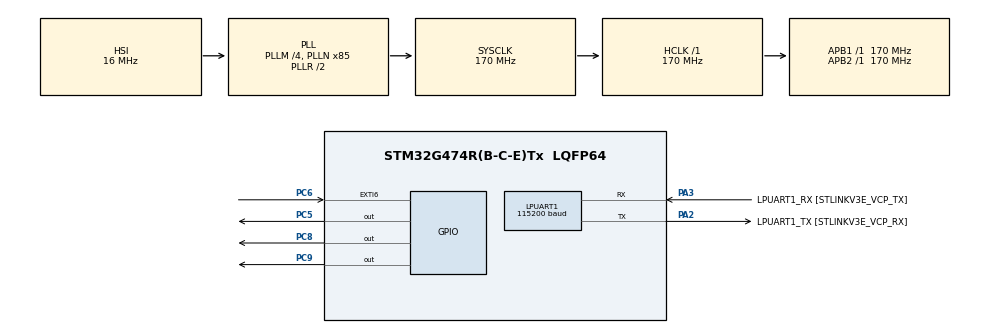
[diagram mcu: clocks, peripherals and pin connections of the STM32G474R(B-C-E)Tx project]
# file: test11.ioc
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LPUART1.BaudRate=115200
Mcu.Family=STM32G4
Mcu.Name=STM32G474R(B-C-E)Tx
Mcu.Package=LQFP64
NVIC.EXTI9_5_IRQn=true\:0\:0\:false\:false\:true\:true\:true\:true
NVIC.LPUART1_IRQn=true\:1\:0\:true\:false\:true\:true\:true\:true
NVIC.PriorityGroup=NVIC_PRIORITYGROUP_4
PA13.GPIO_Label=T_SWDIO
PA13.Signal=SYS_JTMS-SWDIO
PA14.GPIO_Label=T_SWCLK
PA14.Signal=SYS_JTCK-SWCLK
PA2.GPIO_Label=LPUART1_TX [STLINKV3E_VCP_RX]
PA2.Mode=Asynchronous
PA2.Signal=LPUART1_TX
PA3.GPIO_Label=LPUART1_RX [STLINKV3E_VCP_TX]
PA3.Mode=Asynchronous
PA3.Signal=LPUART1_RX
PB3.GPIO_Label=T_SWO
PB3.Signal=SYS_JTDO-SWO
PC14-OSC32_IN.GPIO_Label=RCC_OSC32_IN
PC14-OSC32_IN.Signal=RCC_OSC32_IN
PC15-OSC32_OUT.GPIO_Label=RCC_OSC32_OUT
PC15-OSC32_OUT.Signal=RCC_OSC32_OUT
PC5.Signal=GPIO_Output
PC6.GPIO_PuPd=GPIO_PULLUP
PC6.Signal=GPXTI6
PC8.Signal=GPIO_Output
PC9.Signal=GPIO_Output
PF0-OSC_IN.GPIO_Label=RCC_OSC_IN
PF0-OSC_IN.Signal=RCC_OSC_IN
PF1-OSC_OUT.GPIO_Label=RCC_OSC_OUT
PF1-OSC_OUT.Signal=RCC_OSC_OUT
ProjectManager.HeapSize=0x200
ProjectManager.StackSize=0x400
ProjectManager.TargetToolchain=STM32CubeIDE
RCC.ADC12Freq_Value=170000000
RCC.ADC345Freq_Value=170000000
RCC.AHBFreq_Value=170000000
RCC.APB1Freq_Value=170000000
RCC.APB1TimFreq_Value=170000000
RCC.APB2Freq_Value=170000000
RCC.APB2TimFreq_Value=170000000
RCC.CortexFreq_Value=170000000
RCC.EXTERNAL_CLOCK_VALUE=12288000
RCC.HCLKFreq_Value=170000000
RCC.HSE_VALUE=24000000
RCC.HSI48_VALUE=48000000
RCC.HSI_VALUE=16000000
RCC.LSE_VALUE=32768
RCC.PLLM=RCC_PLLM_DIV4
RCC.PLLN=85
RCC.RTCClockSelection=RCC_RTCCLKSOURCE_LSE
RCC.SYSCLKFreq_VALUE=170000000
RCC.SYSCLKSource=RCC_SYSCLKSOURCE_PLLCLK
RCC.USBFreq_Value=170000000
RCC.VCOOutputFreq_Value=340000000
VP_SYS_VS_DBSignals.Mode=DisableDeadBatterySignals
board=NUCLEO-G474RE

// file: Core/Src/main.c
/* USER CODE BEGIN Header */
/**
 * STM32G474RE 密碼鎖 + 防盜噴霧
 * LPUART1 (PA2 TX / PA3 RX) 115200 8N1
 * PC8 = 綠燈(密碼正確)
 * PC9 = 紅燈(錯 3 次閃 3 秒)
 * PC5 = 噴霧輸出(按 PC6 後持續 3 秒)
 * PC6 = 按鈕(EXTI 下降緣,最高優先權)
 */
/* USER CODE END Header */
#include "main.h"

/* USER CODE BEGIN Includes */
#include <string.h>
/* USER CODE END Includes */

UART_HandleTypeDef hlpuart1;

void SystemClock_Config(void);
static void MX_GPIO_Init(void);
static void MX_LPUART1_UART_Init(void);

/* USER CODE BEGIN PV */
char password[16] = "1234";      // 預設密碼(可被重設)
char buf[16];                    // 收到的字元暫存
uint8_t idx = 0;                 // 目前收到幾個字元
uint8_t err_count = 0;           // 錯誤次數
uint8_t mode = 0;                // 0=一般輸入  1=等舊密碼  2=等新密碼

uint8_t rx_byte;                 // UART 單字元接收
volatile uint8_t rx_data = 0;
volatile uint8_t rx_flag = 0;

uint8_t  green_on = 0;           // 綠燈計時
uint32_t green_start = 0;

uint8_t  red_on = 0;             // 紅燈閃爍計時
uint32_t red_start = 0;
uint32_t red_toggle = 0;

volatile uint8_t  spray_on = 0;  // 噴霧計時
volatile uint32_t spray_start = 0;
volatile uint32_t last_press = 0;   // 防彈跳用
/* USER CODE END PV */

/* USER CODE BEGIN 0 */
// 傳字串(一定要放在 wrong 前面)
void send(char *s)
{
    HAL_UART_Transmit(&hlpuart1, (uint8_t*)s, strlen(s), 100);
}

// 密碼錯誤處理(累計 3 次觸發紅燈)
void wrong(void)
{
    err_count++;
    send("Wrong\r\n");

    if (err_count >= 3)
    {
        err_count = 0;
        red_on = 1;
        red_start = HAL_GetTick();
        red_toggle = red_start;
        send("Alarm!\r\n");
    }
}

// UART 收到 1 個字元
void HAL_UART_RxCpltCallback(UART_HandleTypeDef *huart)
{
    if (huart->Instance == LPUART1)
    {
        rx_data = rx_byte;
        rx_flag = 1;
        HAL_UART_Receive_IT(&hlpuart1, &rx_byte, 1);   // 繼續收下一個
    }
}

// 按鈕動作(兩種回呼名稱共用)
void spray_start_fn(void)
{
    uint32_t now = HAL_GetTick();
    if (now - last_press > 200 && spray_on == 0)       // 防彈跳 200ms
    {
        last_press = now;
        spray_start = now;
        spray_on = 1;
        HAL_GPIO_WritePin(GPIOC, GPIO_PIN_5, GPIO_PIN_SET);   // 噴霧開始
    }
}

// 新版 HAL 的回呼名稱
void HAL_GPIO_EXTI_Falling_Callback(uint16_t GPIO_Pin)
{
    if (GPIO_Pin == GPIO_PIN_6) spray_start_fn();
}

// 舊版 HAL 的回呼名稱
void HAL_GPIO_EXTI_Callback(uint16_t GPIO_Pin)
{
    if (GPIO_Pin == GPIO_PIN_6) spray_start_fn();
}
/* USER CODE END 0 */

int main(void)
{
    HAL_Init();
    SystemClock_Config();
    MX_GPIO_Init();
    MX_LPUART1_UART_Init();

    /* USER CODE BEGIN 2 */
    HAL_UART_Receive_IT(&hlpuart1, &rx_byte, 1);
    HAL_Delay(500);   // 開機等一下,讓終端機有時間連上
    send("\r\n=== Password Lock Ready ===\r\n");
    send("Enter password (or RESET to change):\r\n");
    /* USER CODE END 2 */

    while (1)
    {
        uint32_t now = HAL_GetTick();

        /* ---- 處理收到的字元 ---- */
        if (rx_flag == 1)
        {
            rx_flag = 0;
            char c = rx_data;

            if (c == '\r' || c == '\n')          // 按下 Enter
            {
                if (idx > 0)
                {
                    buf[idx] = 0;
                    idx = 0;

                    if (mode == 0)                           // 一般模式
                    {
                        if (strcmp(buf, "RESET") == 0)       // 要求重設密碼
                        {
                            mode = 1;
                            send("Enter old password:\r\n");
                        }
                        else if (strcmp(buf, password) == 0) // 密碼正確
                        {
                            err_count = 0;
                            HAL_GPIO_WritePin(GPIOC, GPIO_PIN_8, GPIO_PIN_SET);
                            green_on = 1;
                            green_start = now;
                            send("OK\r\n");
                        }
                        else
                        {
                            wrong();
                        }
                    }
                    else if (mode == 1)                      // 驗證舊密碼
                    {
                        if (strcmp(buf, password) == 0)
                        {
                            err_count = 0;
                            mode = 2;
                            send("Enter new password:\r\n");
                        }
                        else
                        {
                            mode = 0;
                            wrong();
                        }
                    }
                    else if (mode == 2)                      // 設定新密碼
                    {
                        if (strcmp(buf, "RESET") == 0)
                        {
                            send("Cannot use RESET\r\n");
                        }
                        else
                        {
                            strcpy(password, buf);
                            send("Password changed\r\n");
                        }
                        mode = 0;
                    }
                }
                else
                {
                    send("Enter password (or RESET to change):\r\n");
                }
            }
            else if (idx < 15)
            {
                buf[idx] = c;
                idx++;
            }
        }

        /* ---- 綠燈亮 2 秒後關閉 ---- */
        if (green_on == 1 && now - green_start >= 2000)
        {
            green_on = 0;
            HAL_GPIO_WritePin(GPIOC, GPIO_PIN_8, GPIO_PIN_RESET);
        }

        /* ---- 紅燈閃 3 秒 ---- */
        if (red_on == 1)
        {
            if (now - red_start >= 3000)
            {
                red_on = 0;
                HAL_GPIO_WritePin(GPIOC, GPIO_PIN_9, GPIO_PIN_RESET);
            }
            else if (now - red_toggle >= 250)    // 每 250ms 切換一次
            {
                red_toggle = now;
                HAL_GPIO_TogglePin(GPIOC, GPIO_PIN_9);
            }
        }

        /* ---- 噴霧 3 秒後關閉 ---- */
        if (spray_on == 1 && now - spray_start >= 3000)
        {
            spray_on = 0;
            HAL_GPIO_WritePin(GPIOC, GPIO_PIN_5, GPIO_PIN_RESET);
        }
    }
}

/* ===== 以下為 CubeMX 產生的初始化(通常不用手改) ===== */

void SystemClock_Config(void)
{
    RCC_OscInitTypeDef RCC_OscInitStruct = {0};
    RCC_ClkInitTypeDef RCC_ClkInitStruct = {0};

    HAL_PWREx_ControlVoltageScaling(PWR_REGULATOR_VOLTAGE_SCALE1_BOOST);

    RCC_OscInitStruct.OscillatorType = RCC_OSCILLATORTYPE_HSI;
    RCC_OscInitStruct.HSIState = RCC_HSI_ON;
    RCC_OscInitStruct.HSICalibrationValue = RCC_HSICALIBRATION_DEFAULT;
    RCC_OscInitStruct.PLL.PLLState = RCC_PLL_ON;
    RCC_OscInitStruct.PLL.PLLSource = RCC_PLLSOURCE_HSI;
    RCC_OscInitStruct.PLL.PLLM = RCC_PLLM_DIV4;
    RCC_OscInitStruct.PLL.PLLN = 85;
    RCC_OscInitStruct.PLL.PLLP = RCC_PLLP_DIV2;
    RCC_OscInitStruct.PLL.PLLQ = RCC_PLLQ_DIV2;
    RCC_OscInitStruct.PLL.PLLR = RCC_PLLR_DIV2;
    if (HAL_RCC_OscConfig(&RCC_OscInitStruct) != HAL_OK)
    {
        Error_Handler();
    }

    RCC_ClkInitStruct.ClockType = RCC_CLOCKTYPE_HCLK | RCC_CLOCKTYPE_SYSCLK
                                | RCC_CLOCKTYPE_PCLK1 | RCC_CLOCKTYPE_PCLK2;
    RCC_ClkInitStruct.SYSCLKSource = RCC_SYSCLKSOURCE_PLLCLK;
    RCC_ClkInitStruct.AHBCLKDivider = RCC_SYSCLK_DIV1;
    RCC_ClkInitStruct.APB1CLKDivider = RCC_HCLK_DIV1;
    RCC_ClkInitStruct.APB2CLKDivider = RCC_HCLK_DIV1;
    if (HAL_RCC_ClockConfig(&RCC_ClkInitStruct, FLASH_LATENCY_4) != HAL_OK)
    {
        Error_Handler();
    }
}

static void MX_LPUART1_UART_Init(void)
{
    hlpuart1.Instance = LPUART1;
    hlpuart1.Init.BaudRate = 115200;
    hlpuart1.Init.WordLength = UART_WORDLENGTH_8B;
    hlpuart1.Init.StopBits = UART_STOPBITS_1;
    hlpuart1.Init.Parity = UART_PARITY_NONE;
    hlpuart1.Init.Mode = UART_MODE_TX_RX;
    hlpuart1.Init.HwFlowCtl = UART_HWCONTROL_NONE;
    hlpuart1.Init.OneBitSampling = UART_ONE_BIT_SAMPLE_DISABLE;
    hlpuart1.Init.ClockPrescaler = UART_PRESCALER_DIV1;
    hlpuart1.AdvancedInit.AdvFeatureInit = UART_ADVFEATURE_NO_INIT;
    if (HAL_UART_Init(&hlpuart1) != HAL_OK)
    {
        Error_Handler();
    }
    if (HAL_UARTEx_SetTxFifoThreshold(&hlpuart1, UART_TXFIFO_THRESHOLD_1_8) != HAL_OK)
    {
        Error_Handler();
    }
    if (HAL_UARTEx_SetRxFifoThreshold(&hlpuart1, UART_RXFIFO_THRESHOLD_1_8) != HAL_OK)
    {
        Error_Handler();
    }
    if (HAL_UARTEx_DisableFifoMode(&hlpuart1) != HAL_OK)
    {
        Error_Handler();
    }
}

static void MX_GPIO_Init(void)
{
    GPIO_InitTypeDef GPIO_InitStruct = {0};

    __HAL_RCC_GPIOC_CLK_ENABLE();
    __HAL_RCC_GPIOA_CLK_ENABLE();

    /* 輸出腳先拉低 */
    HAL_GPIO_WritePin(GPIOC, GPIO_PIN_5 | GPIO_PIN_8 | GPIO_PIN_9, GPIO_PIN_RESET);

    /* PC5 / PC8 / PC9 輸出 */
    GPIO_InitStruct.Pin = GPIO_PIN_5 | GPIO_PIN_8 | GPIO_PIN_9;
    GPIO_InitStruct.Mode = GPIO_MODE_OUTPUT_PP;
    GPIO_InitStruct.Pull = GPIO_NOPULL;
    GPIO_InitStruct.Speed = GPIO_SPEED_FREQ_LOW;
    HAL_GPIO_Init(GPIOC, &GPIO_InitStruct);

    /* PC6 按鈕:下降緣中斷 + 內部上拉 */
    GPIO_InitStruct.Pin = GPIO_PIN_6;
    GPIO_InitStruct.Mode = GPIO_MODE_IT_FALLING;
    GPIO_InitStruct.Pull = GPIO_PULLUP;
    HAL_GPIO_Init(GPIOC, &GPIO_InitStruct);

    /* 按鈕中斷優先權最高 */
    HAL_NVIC_SetPriority(EXTI9_5_IRQn, 0, 0);
    HAL_NVIC_EnableIRQ(EXTI9_5_IRQn);
}

void Error_Handler(void)
{
    __disable_irq();
    while (1)
    {
    }
}
